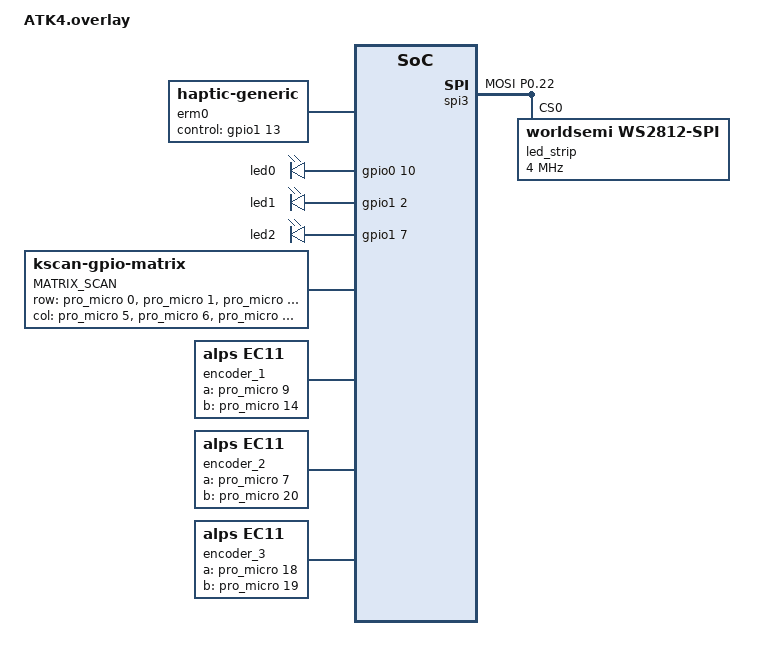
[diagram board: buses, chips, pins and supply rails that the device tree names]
#include <dt-bindings/led/led.h>
#include <dt-bindings/zmk/rgb.h>

&pinctrl {
    spi3_default: spi3_default {
        group1 {
            psels = <NRF_PSEL(SPIM_MOSI, 0, 22)>;
        };
    };

    spi3_sleep: spi3_sleep {
        group1 {
            psels = <NRF_PSEL(SPIM_MOSI, 0, 22)>;
            low-power-enable;
        };
    };
};



&spi3 {
    compatible = "nordic,nrf-spim";
    status = "okay";

    pinctrl-0 = <&spi3_default>;
    pinctrl-1 = <&spi3_sleep>;
    pinctrl-names = "default", "sleep";

    led_strip: ws2812@0 {
        compatible = "worldsemi,ws2812-spi";

        /* SPI */
        reg = <0>; /* ignored, but necessary for SPI bindings */
        spi-max-frequency = <4000000>;

        /* WS2812 */
        chain-length = <10>; 
        spi-one-frame = <0x70>;
        spi-zero-frame = <0x40>;
        color-mapping = <LED_COLOR_ID_GREEN
                         LED_COLOR_ID_RED
                         LED_COLOR_ID_BLUE>; 
    };
};


/



{

    erm0: haptic_generic_erm0 {
		compatible = "zmk,haptic-generic";
		#haptic-binding-cells = <0>;
		control-gpios = <&gpio1 13 GPIO_ACTIVE_HIGH>;
	};


    aliases {
        led-red = &led0;
        led-green = &led1;
        led-blue = &led2;
    };

    leds {
        compatible = "gpio-leds";
        status = "okay";
        led0: led_0 {
            gpios = <&gpio0 10 GPIO_ACTIVE_HIGH>;  // red LED, connected to P0.26
        };
        led1: led_1 {
            gpios = <&gpio1 2 GPIO_ACTIVE_HIGH>;  // green LED, connected to P0.30
        };
        led2: led_2 {
            gpios = <&gpio1 7 GPIO_ACTIVE_HIGH>;  // blue LED, connected to P0.06
        };
    };



    chosen {
        zmk,kscan = &default_kscan;
        zmk,underglow = &led_strip;
    };



    default_kscan: kscan {
        compatible = "zmk,kscan-gpio-matrix";
        label = "MATRIX_SCAN";

        row-gpios = 
            <&pro_micro 0 (GPIO_ACTIVE_HIGH | GPIO_PULL_DOWN)>,  // D0
            <&pro_micro 1 (GPIO_ACTIVE_HIGH | GPIO_PULL_DOWN)>,  // D1
            <&pro_micro 2 (GPIO_ACTIVE_HIGH | GPIO_PULL_DOWN)>,  // D2
            <&pro_micro 3 (GPIO_ACTIVE_HIGH | GPIO_PULL_DOWN)>;

        col-gpios = 
            <&pro_micro 5 (GPIO_ACTIVE_HIGH | GPIO_PULL_DOWN)>,  // D3
            <&pro_micro 6 (GPIO_ACTIVE_HIGH | GPIO_PULL_DOWN)>,  // D4
            <&pro_micro 8 (GPIO_ACTIVE_HIGH | GPIO_PULL_DOWN)>,  // D5
            <&pro_micro 10 (GPIO_ACTIVE_HIGH | GPIO_PULL_DOWN)>;

        diode-direction = "col2row";
    };

    
        
    

    // Encoder 1 (D6/D7)
    encoder_1: encoder_1 {
        compatible = "alps,ec11";
        a-gpios = <&pro_micro 9 (GPIO_ACTIVE_HIGH | GPIO_PULL_UP)>;  // D6
        b-gpios = <&pro_micro 14 (GPIO_ACTIVE_HIGH | GPIO_PULL_UP)>;  // D7
        resolution = <4>;
        status = "okay";
    };

    // Encoder 2 (D8/D9)
    encoder_2: encoder_2 {
        compatible = "alps,ec11";
        a-gpios = <&pro_micro 7 (GPIO_ACTIVE_HIGH | GPIO_PULL_UP)>;  // D8
        b-gpios = <&pro_micro 20 (GPIO_ACTIVE_HIGH | GPIO_PULL_UP)>;  // D9
        resolution = <4>;
        status = "okay";
    };

    // Encoder 3 (D10/D16)
    encoder_3: encoder_3 {
        compatible = "alps,ec11";
        a-gpios = <&pro_micro 18 (GPIO_ACTIVE_HIGH | GPIO_PULL_UP)>; // D10
        b-gpios = <&pro_micro 19 (GPIO_ACTIVE_HIGH | GPIO_PULL_UP)>; // D16
        resolution = <4>;
        status = "okay";
    };


        sensors: sensors {
        compatible = "zmk,keymap-sensors";
        sensors = <&encoder_1 &encoder_2 &encoder_3>;
        triggers-per-rotation = <24>;
        status = "okay";
    };
};

